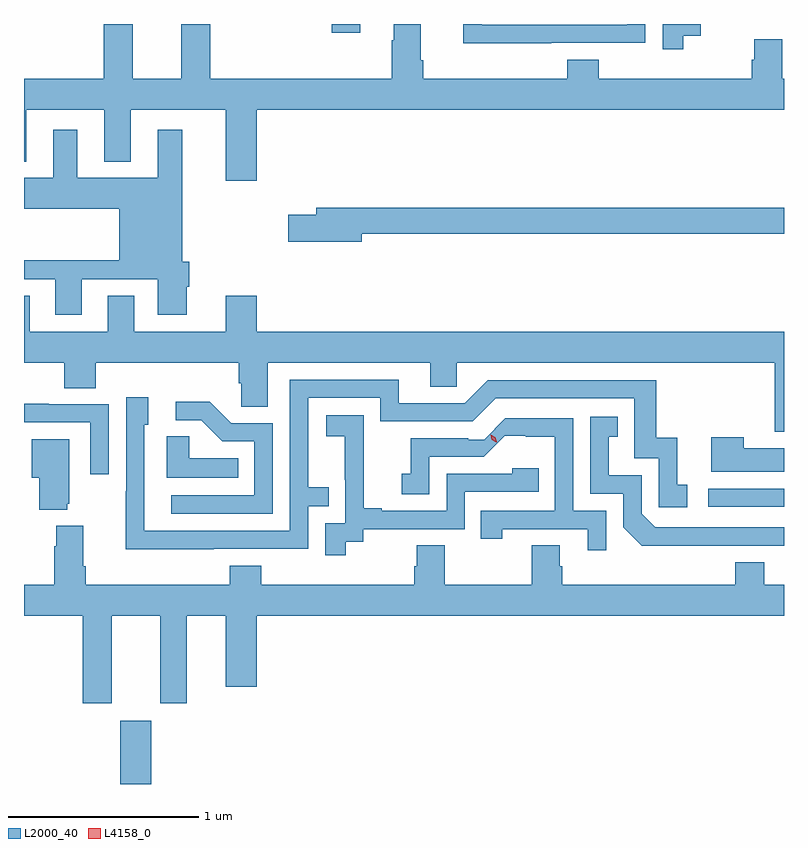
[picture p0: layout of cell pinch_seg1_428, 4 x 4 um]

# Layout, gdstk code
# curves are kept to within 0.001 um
import gdstk
lib = gdstk.Library(unit=1e-6, precision=1e-09)
def R(c, l, rs):  # rectangles x0, y0, x1, y1
    for r in rs: c.add(gdstk.rectangle(r[:2], r[2:], *l))
def P(c, l, *ps):  # polygons
    for p in ps: c.add(gdstk.Polygon(p, *l))
L2000_40 = (2000, 40)
L4158_0 = (4158, 0)

pinch_seg1_428 = lib.new_cell('pinch_seg1_428')
R(pinch_seg1_428, L2000_40, [(895.721,513.551,895.885,513.883), (898.815,515.01,899.214,515.106), (896.835,517.506,896.983,517.551)])
P(pinch_seg1_428, L2000_40, [(898.684,517.489),(898.776,517.489),(898.776,517.551),(898.575,517.551),(898.575,517.419),(898.684,517.419)],
  [(897.989,517.452),(898.485,517.452),(898.485,517.551),(898.389,517.551),(898.389,517.548),(897.624,517.548),(897.624,517.551),(897.526,517.551),(897.526,517.451),(897.989,517.451)],
  [(896.44,517.1),(899.214,517.1),(899.214,517.264),(899.205,517.264),(899.205,517.472),(899.057,517.472),(899.057,517.362),(899.045,517.362),(899.045,517.264),(898.238,517.264),(898.238,517.363),(898.073,517.363),(898.073,517.264),(897.314,517.264),(897.314,517.36),(897.301,517.36),(897.301,517.551),(897.161,517.551),(897.161,517.466),(897.149,517.466),(897.149,517.264),(896.195,517.264),(896.195,517.551),(896.042,517.551),(896.042,517.264),(895.786,517.264),(895.786,517.551),(895.634,517.551),(895.634,517.264),(895.214,517.264),(895.214,516.827),(895.225,516.827),(895.225,517.1),(895.637,517.1),(895.637,516.827),(895.777,516.827),(895.777,517.1),(896.276,517.1),(896.276,516.726),(896.44,516.726)],
  [(895.519,516.207),(895.919,516.207),(895.919,516.02),(896.071,516.02),(896.071,516.167),(896.084,516.167),(896.084,516.3),(896.047,516.3),(896.047,516.994),(895.919,516.994),(895.919,516.742),(895.495,516.742),(895.495,516.994),(895.367,516.994),(895.367,516.742),(895.214,516.742),(895.214,516.578),(895.715,516.578),(895.715,516.308),(895.214,516.308),(895.214,516.207),(895.379,516.207),(895.379,516.02),(895.519,516.02)],
  [(896.992,516.448),(899.214,516.448),(899.214,516.584),(896.753,516.584),(896.753,516.548),(896.604,516.548),(896.604,516.406),(896.992,516.406)],
  [(899.214,515.932),(896.44,515.932),(896.44,516.121),(896.276,516.121),(896.276,515.932),(895.795,515.932),(895.795,516.122),(895.655,516.122),(895.655,515.932),(895.243,515.932),(895.243,516.122),(895.214,516.122),(895.214,515.768),(895.427,515.768),(895.427,515.635),(895.592,515.635),(895.592,515.768),(896.345,515.768),(896.345,515.659),(896.358,515.659),(896.358,515.536),(896.497,515.536),(896.497,515.768),(897.353,515.768),(897.353,515.641),(897.492,515.641),(897.492,515.768),(899.165,515.768),(899.165,515.406),(899.214,515.406)],
  [(896.213,514.788),(896.709,514.788),(896.709,515.013),(896.819,515.013),(896.819,515.114),(896.709,515.114),(896.709,515.583),(897.09,515.583),(897.09,515.46),(897.576,515.46),(897.696,515.58),(898.425,515.58),(898.425,515.265),(898.554,515.265),(898.554,515.007),(898.705,515.007),(898.705,515.127),(898.652,515.127),(898.652,515.374),(898.541,515.374),(898.541,515.676),(897.654,515.676),(897.534,515.556),(897.187,515.556),(897.187,515.679),(896.613,515.679),(896.613,514.884),(895.848,514.884),(895.848,515.442),(895.867,515.442),(895.867,515.587),(895.752,515.587),(895.752,515.093),(895.75,515.093),(895.75,514.787)],
  [(896.523,515.451),(896.304,515.451),(896.191,515.564),(896.013,515.564),(896.013,515.466),(896.147,515.466),(896.258,515.355),(896.427,515.355),(896.427,515.07),(895.989,515.07),(895.989,514.974),(896.523,514.974)],
  [(895.659,515.55),(895.343,515.55),(895.343,515.552),(895.214,515.552),(895.214,515.454),(895.563,515.454),(895.563,515.181),(895.659,515.181)],
  [(896.908,514.825),(897,514.825),(897,514.893),(897.534,514.893),(897.534,515.088),(897.923,515.088),(897.923,515.212),(897.783,515.212),(897.783,515.184),(897.438,515.184),(897.438,514.989),(897.097,514.989),(897.097,515.002),(897.002,515.002),(897.002,515.285),(897.003,515.285),(897.003,515.491),(896.805,515.491),(896.805,515.381),(896.903,515.381),(896.903,515.153),(896.904,515.153),(896.904,514.923),(896.799,514.923),(896.799,514.755),(896.908,514.755)],
  [(898.874,514.806),(899.214,514.806),(899.214,514.902),(898.536,514.902),(898.464,514.974),(898.464,515.175),(898.291,515.175),(898.291,515.379),(898.34,515.379),(898.34,515.485),(898.194,515.485),(898.194,515.079),(898.368,515.079),(898.368,514.902),(898.466,514.805)],
  [(898.278,514.989),(898.104,514.989),(898.104,515.475),(897.747,515.475),(897.636,515.364),(897.551,515.364),(897.551,515.37),(897.25,515.37),(897.25,515.185),(897.201,515.185),(897.201,515.076),(897.348,515.076),(897.348,515.274),(897.634,515.274),(897.745,515.385),(897.856,515.385),(897.856,515.378),(898.008,515.378),(898.008,514.989),(897.619,514.989),(897.619,514.842),(897.73,514.842),(897.73,514.893),(898.181,514.893),(898.181,514.782),(898.278,514.782)],
  [(896.342,515.266),(896.085,515.266),(896.085,515.381),(895.964,515.381),(895.964,515.162),(896.342,515.162)],
  [(899.214,515.317),(899.003,515.317),(899.003,515.377),(898.832,515.377),(898.832,515.195),(899.214,515.195)],
  [(895.442,515.025),(895.453,515.025),(895.453,515.365),(895.256,515.365),(895.256,515.162),(895.295,515.162),(895.295,514.994),(895.442,514.994)],
  [(895.523,513.975),(895.675,513.975),(895.675,514.436),(895.931,514.436),(895.931,513.975),(896.071,513.975),(896.071,514.436),(896.276,514.436),(896.276,514.062),(896.44,514.062),(896.44,514.436),(899.214,514.436),(899.214,514.6),(899.11,514.6),(899.11,514.717),(898.958,514.717),(898.958,514.6),(898.046,514.6),(898.046,514.698),(898.033,514.698),(898.033,514.808),(897.886,514.808),(897.886,514.6),(897.429,514.6),(897.429,514.808),(897.281,514.808),(897.281,514.698),(897.269,514.698),(897.269,514.6),(896.462,514.6),(896.462,514.699),(896.297,514.699),(896.297,514.6),(895.538,514.6),(895.538,514.696),(895.525,514.696),(895.525,514.909),(895.385,514.909),(895.385,514.802),(895.373,514.802),(895.373,514.6),(895.214,514.6),(895.214,514.436),(895.523,514.436)])
P(pinch_seg1_428, L4158_0, [(897.7,515.351),(897.677,515.364),(897.67,515.389),(897.67,515.389),(897.67,515.389),(897.693,515.376),(897.701,515.352),(897.701,515.351)])

lib.write_gds('pinch_seg1_428.gds')
